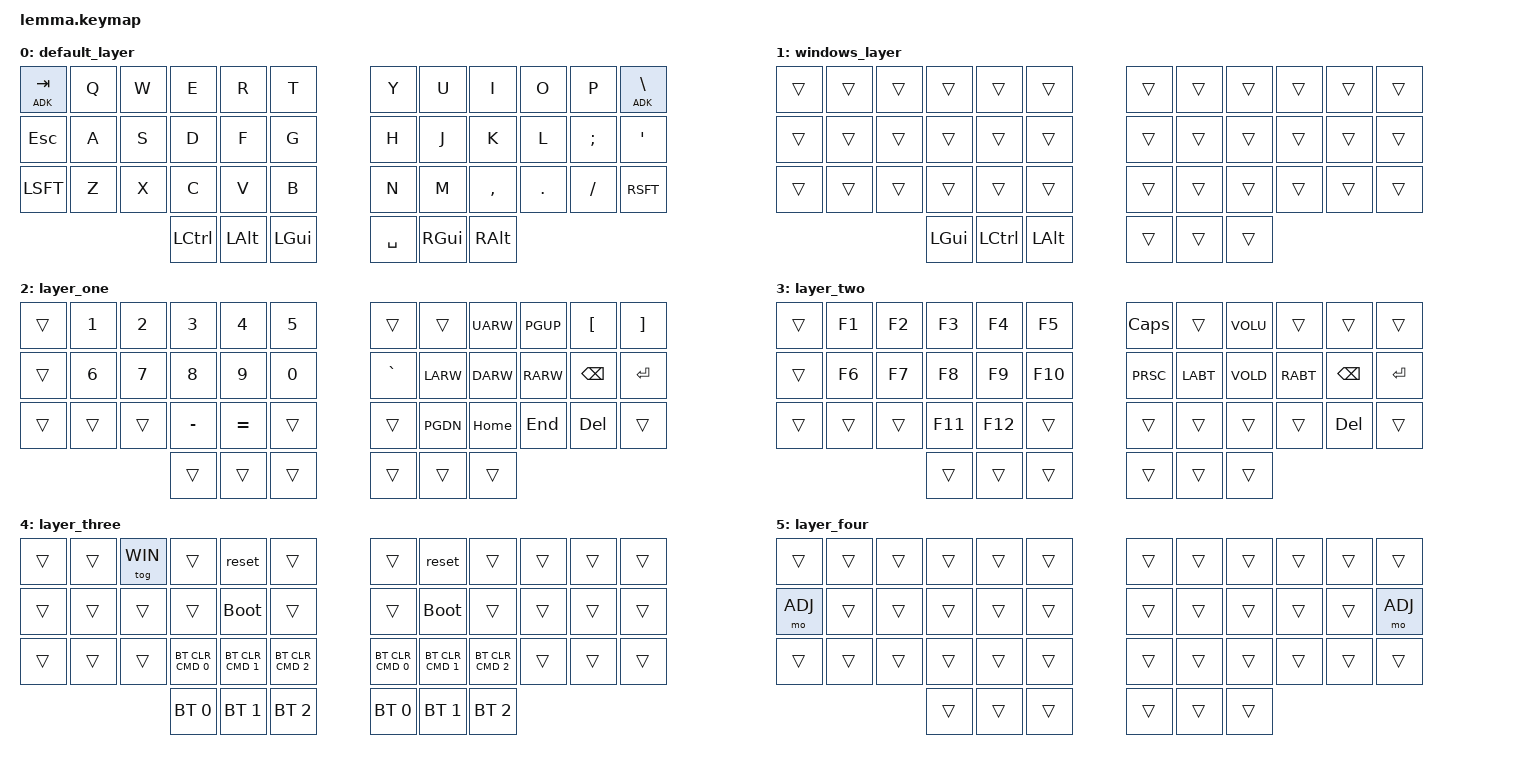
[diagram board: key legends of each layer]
/*
 * Copyright (c) 2020 The ZMK Contributors
 *
 * SPDX-License-Identifier: MIT
 */

#include <behaviors.dtsi>
#include <dt-bindings/zmk/bt.h>
#include <dt-bindings/zmk/keys.h>

#define APL 0
#define WIN 1
#define NAV 2
#define FUN 3
#define ADJ 4
#define ADK 5

/ {
    keymap {
        compatible = "zmk,keymap";

// ----------------------------------------------      -----------------------------------------------------
// | TAB  |  Q   |  W   |  E   |  R   |  T   |          |  Y   |  U   |  I   |  O   |  P   |  \|  |
//   | CAPS |  A   |  S   |  D   |  F   |  G   |          |  H   |  J   |  K   |  L   |  ;:  |  '"  |
//       | LSFT |  Z   |  X   |  C   |  V   |  B   |          |  N   |  M   |  ,<  |  .>  |  /?  | RSFT |
//                        | LCTL | LOPT | LCMD |          | SPC  | NAV  | FUN  |
// -------------------------------------------        ------------------------------------------------------
        default_layer {
            bindings = <
    &lt ADK TAB &kp Q   &kp W     &kp E     &kp R     &kp T     /**/  &kp Y     &kp U     &kp I     &kp O    &kp P     &lt ADK BSLH
    &kp ESC   &kp A     &kp S     &kp D     &kp F     &kp G     /**/  &kp H     &kp J     &kp K     &kp L    &kp SCLN  &kp QUOT
    &kp LSFT  &kp Z     &kp X     &kp C     &kp V     &kp B     /**/  &kp N     &kp M     &kp CMMA  &kp DOT  &kp FSLH  &kp RSFT
                                  &kp LCTL  &kp LALT  &kp LGUI  /**/  &kp SPC   &kp RGUI &kp RALT
            >;
        };

        windows_layer {
            bindings = <
    &trans    &trans    &trans    &trans    &trans    &trans    /**/  &trans    &trans    &trans    &trans    &trans    &trans
    &trans    &trans    &trans    &trans    &trans    &trans    /**/  &trans    &trans    &trans    &trans    &trans    &trans
    &trans    &trans    &trans    &trans    &trans    &trans    /**/  &trans    &trans    &trans    &trans    &trans    &trans
                                  &kp LGUI  &kp LCTL  &kp LALT  /**/  &trans    &trans    &trans
            >;
        };

        layer_one {
            bindings = <
    &trans    &kp NUM_1 &kp NUM_2 &kp NUM_3 &kp NUM_4 &kp NUM_5 /**/  &trans    &trans    &kp UARW  &kp PGUP  &kp LBKT  &kp RBKT
    &trans    &kp NUM_6 &kp NUM_7 &kp NUM_8 &kp NUM_9 &kp NUM_0 /**/  &kp GRAV  &kp LARW  &kp DARW  &kp RARW  &kp BKSP  &kp RET
    &trans    &trans    &trans    &kp MINUS &kp EQL   &trans    /**/  &trans    &kp PGDN  &kp HOME  &kp END   &kp DEL   &trans
                                  &trans    &trans    &trans    /**/  &trans    &trans    &trans
            >;
        };

        layer_two {
            bindings = <
    //&trans    &kp F1    &kp F2    &kp F3    &kp F4    &kp F5    /**/  &kp CLCK &trans     &kp J_VOLU &trans     &trans    &trans
    //&trans    &kp F6    &kp F7    &kp F8    &kp F9    &kp F10   /**/  &kp PRSC &kp J_BRID &kp J_VOLD &kp J_BRIU &kp BKSP  &kp RET
    &trans    &kp F1    &kp F2    &kp F3    &kp F4    &kp F5    /**/  &kp CLCK &trans     &kp VOLU   &trans     &trans    &trans
    &trans    &kp F6    &kp F7    &kp F8    &kp F9    &kp F10   /**/  &kp PRSC &kp LABT   &kp VOLD   &kp RABT   &kp BKSP  &kp RET
    &trans    &trans    &trans    &kp F11   &kp F12   &trans    /**/  &trans   &trans     &trans     &trans     &kp DEL   &trans
                                  &trans    &trans    &trans    /**/  &trans   &trans     &trans
            >;
        };

        layer_three {
            bindings = <
    &trans  &trans  &tog WIN  &trans  &reset       &trans       /**/  &trans    &reset       &trans    &trans    &trans    &trans
    &trans  &trans  &trans    &trans  &bootloader  &trans       /**/  &trans    &bootloader  &trans    &trans    &trans    &trans
    &trans  &trans  &trans  &bt BT_CLR_CMD 0  &bt BT_CLR_CMD 1  &bt BT_CLR_CMD 2  /**/  &bt BT_CLR_CMD 0  &bt BT_CLR_CMD 1  &bt BT_CLR_CMD 2  &trans  &trans  &trans
                        &bt BT_SEL 0  &bt BT_SEL 1 &bt BT_SEL 2 /**/  &bt BT_SEL 0  &bt BT_SEL 1 &bt BT_SEL 2
            >;
        };

        layer_four {
            bindings = <
    &trans    &trans    &trans    &trans    &trans    &trans    /**/  &trans    &trans    &trans    &trans    &trans    &trans
    &mo ADJ   &trans    &trans    &trans    &trans    &trans    /**/  &trans    &trans    &trans    &trans    &trans    &mo ADJ
    &trans    &trans    &trans    &trans    &trans    &trans    /**/  &trans    &trans    &trans    &trans    &trans    &trans
                                  &trans    &trans    &trans    /**/  &trans    &trans    &trans
            >;
        };
    };
};
